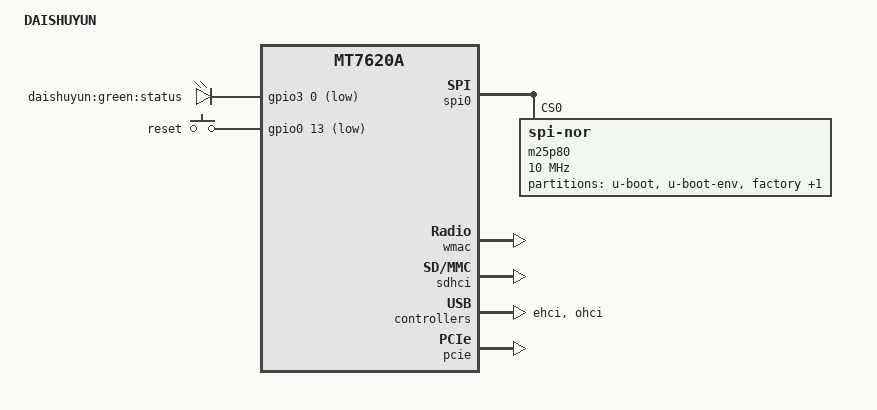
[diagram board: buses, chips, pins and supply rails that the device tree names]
/dts-v1/;

#include "mt7620a.dtsi"

#include <dt-bindings/gpio/gpio.h>
#include <dt-bindings/input/input.h>

/ {
	compatible = "daishuyun", "ralink,mt7620a-soc";
	model = "DAISHUYUN";

	gpio-leds {
		compatible = "gpio-leds";
		light {
			label = "daishuyun:green:status";
			gpios = <&gpio3 0 GPIO_ACTIVE_LOW>;
		};
	};

	gpio-keys-polled {
		compatible = "gpio-keys-polled";
		#address-cells = <1>;
		#size-cells = <0>;
		poll-interval = <20>;
		reset {
			label = "reset";
			gpios = <&gpio0 13 GPIO_ACTIVE_LOW>;
			linux,code = <KEY_RESTART>;
		};
	};
};

&gpio0 {
	status = "okay";
};

&gpio1 {
	status = "okay";
};

&gpio2 {
	status = "okay";
};

&gpio3 {
	status = "okay";
};

&spi0 {
	status = "okay";

	m25p80@0 {
		#address-cells = <1>;
		#size-cells = <1>;
		compatible = "jedec,spi-nor";
		reg = <0>;
		spi-max-frequency = <10000000>;

		partition@0 {
			label = "u-boot";
			reg = <0x0 0x30000>;
		};

		partition@30000 {
			label = "u-boot-env";
			reg = <0x30000 0x10000>;
		};

		factory: partition@40000 {
			label = "factory";
			reg = <0x40000 0x10000>;
		};

		partition@50000 {
			label = "firmware";
			reg = <0x50000 0x1fb0000>;
		};
	};
};

&pinctrl {
	state_default: pinctrl0 {
		default {
			ralink,group = "uartf", "wled", "nd_sd";
			ralink,function = "gpio";
		};
	};
};

&ethernet {
	pinctrl-names = "default";
	mtd-mac-address = <&factory 0x4>;
	mediatek,portmap = "llllw";
};

&wmac {
	ralink,mtd-eeprom = <&factory 0>;
	pinctrl-names = "default";
	pinctrl-0 = <&pa_pins>;
};

&sdhci {
	status = "okay";
};

&ehci {
	status = "okay";
};

&ohci {
	status = "okay";
};

&pcie {
	status = "okay";

	pcie-bridge {
		mt76@0,0 {
			reg = <0x0000 0 0 0 0>;
			device_type = "pci";
			mediatek,mtd-eeprom = <&factory 0x8000>;
			ieee80211-freq-limit = <5000000 6000000>;
		};
	};
};
